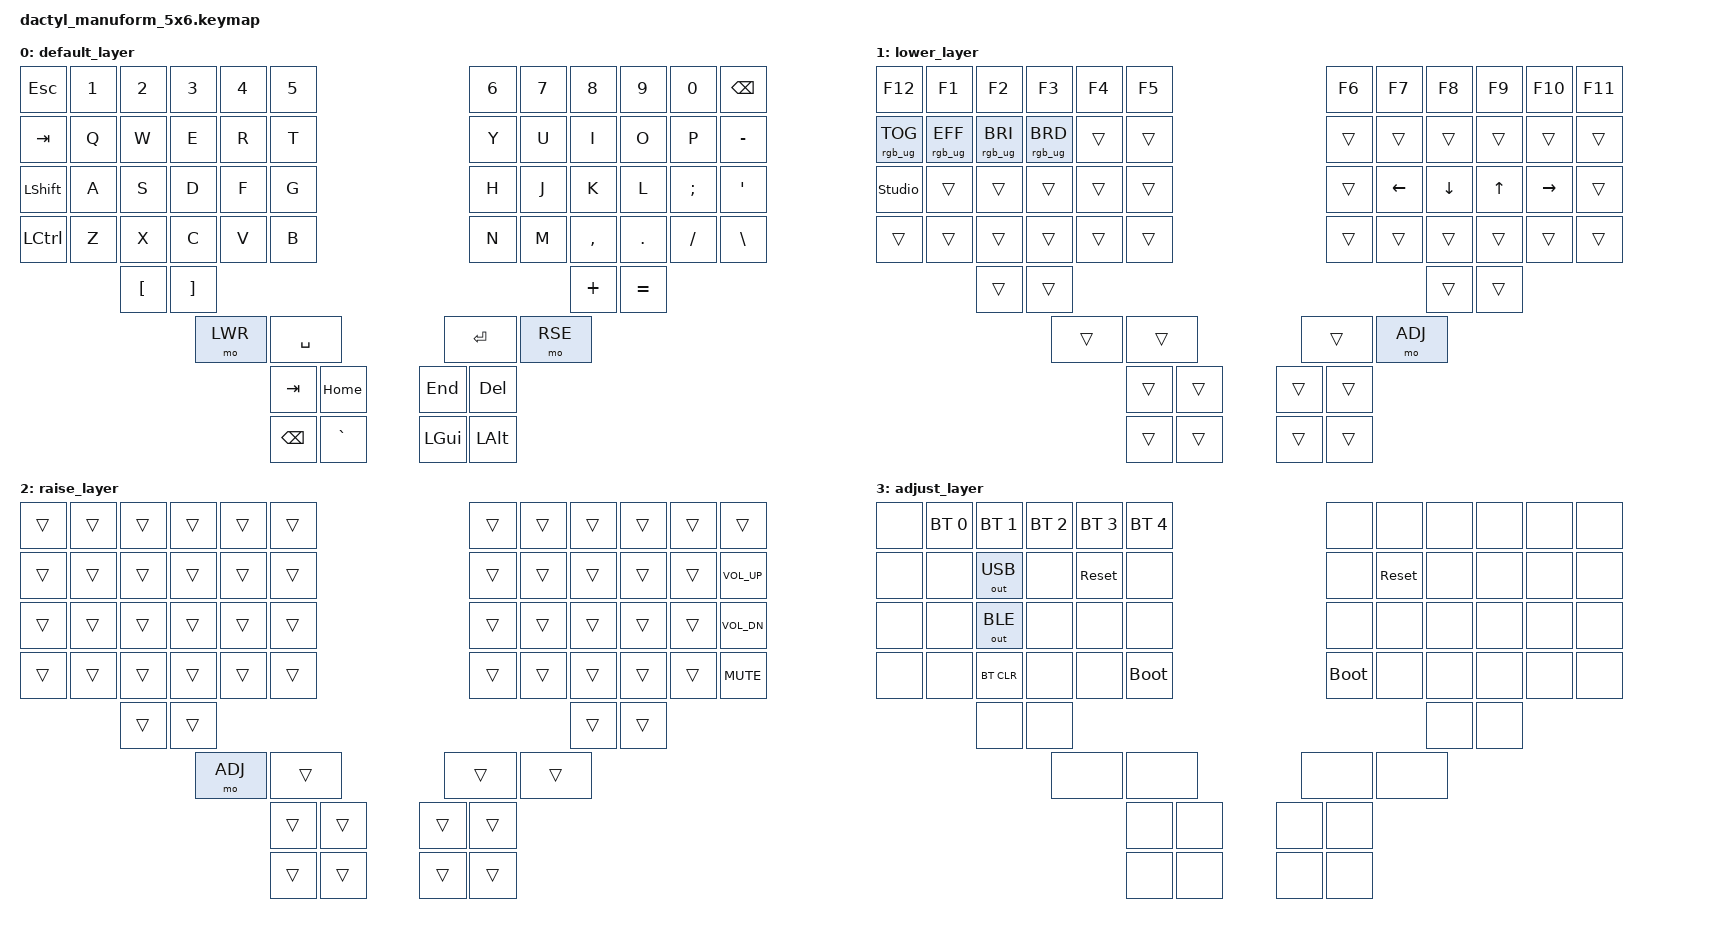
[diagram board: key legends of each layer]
#include <behaviors.dtsi>
#include <dt-bindings/zmk/keys.h>
#include <dt-bindings/zmk/bt.h>
#include <dt-bindings/zmk/outputs.h>
#include <dt-bindings/zmk/rgb.h>
#define DEFAULT 0
#define LWR 1
#define RSE 2
#define ADJ 3

#define HYPER(key) LS(LC(LA(LG(key))))
#define MEH(key)   LS(LC(LA(key)))

&sl {
release-after-ms = <5000>;
};


&kscan0 {
debounce-press-ms = <30>;
debounce-release-ms = <30>;
};

/ {
    keymap {
        compatible = "zmk,keymap";

        default_layer {
            bindings = <
                &kp ESC   &kp N1 &kp N2 &kp N3 &kp N4 &kp N5              &kp N6 &kp N7 &kp N8    &kp N9  &kp N0   &kp BSPC
                &kp TAB   &kp Q  &kp W  &kp E  &kp R  &kp T               &kp Y  &kp U  &kp I     &kp O   &kp P    &kp MINUS
                &kp LSHFT &kp A  &kp S  &kp D  &kp F  &kp G               &kp H  &kp J  &kp K     &kp L   &kp SEMI &kp SQT
                &kp LCTRL &kp Z  &kp X  &kp C  &kp V  &kp B               &kp N  &kp M  &kp COMMA &kp DOT &kp FSLH &kp BSLH
                                 &kp LBKT &kp RBKT                                      &kp PLUS &kp EQUAL
                                            &mo LWR  &kp SPACE            &kp RET  &mo RSE
                                            &kp TAB  &kp HOME             &kp END  &kp DEL
                                            &kp BSPC &kp GRAVE            &kp LGUI &kp LALT
            >;
        };

        lower_layer {
            bindings = <
                &kp F12 &kp F1 &kp F2 &kp F3 &kp F4 &kp F5                                                &kp F6 &kp F7   &kp F8   &kp F9 &kp F10   &kp F11
                &rgb_ug  RGB_TOG  &rgb_ug  RGB_EFF &rgb_ug  RGB_BRI &rgb_ug  RGB_BRD &trans &trans        &trans &trans   &trans   &trans &trans    &trans
                &studio_unlock  &trans &trans &trans &trans &trans                                        &trans &kp LEFT &kp DOWN &kp UP &kp RIGHT &trans
                &trans  &trans &trans &trans &trans &trans                                                &trans &trans   &trans   &trans &trans    &trans
                               &trans &trans                                                                                       &trans &trans
                                             &trans &trans                                                &trans &mo ADJ
                                             &trans &trans                                                &trans &trans
                                             &trans &trans                                                &trans &trans
            >;
        };

        raise_layer {
            bindings = <
                &trans  &trans &trans &trans &trans &trans                &trans &trans &trans &trans &trans &trans
                &trans  &trans &trans &trans &trans &trans                &trans &trans &trans &trans &trans &kp K_VOL_UP
                &trans  &trans &trans &trans &trans &trans                &trans &trans &trans &trans &trans &kp K_VOL_DN
                &trans  &trans &trans &trans &trans &trans                &trans &trans &trans &trans &trans &kp K_MUTE
                               &trans &trans                                            &trans &trans
                                             &mo ADJ &trans               &trans &trans
                                             &trans  &trans               &trans &trans
                                             &trans  &trans               &trans &trans
            >;
        };

        adjust_layer {
            bindings = <
                &none &bt BT_SEL 0 &bt BT_SEL 1 &bt BT_SEL 2 &bt BT_SEL 3 &bt BT_SEL 4             &none       &none      &none &none &none &none
                &none &none        &out OUT_USB &none        &sys_reset   &none                    &none       &sys_reset &none &none &none &none
                &none &none        &out OUT_BLE &none        &none        &none                    &none       &none      &none &none &none &none
                &none &none        &bt BT_CLR   &none        &none        &bootloader              &bootloader &none      &none &none &none &none
                                   &none        &none                                                                     &none &none
                                                             &none        &none                    &none       &none
                                                             &none        &none                    &none       &none
                                                             &none        &none                    &none       &none
            >;
        };
    };
};
